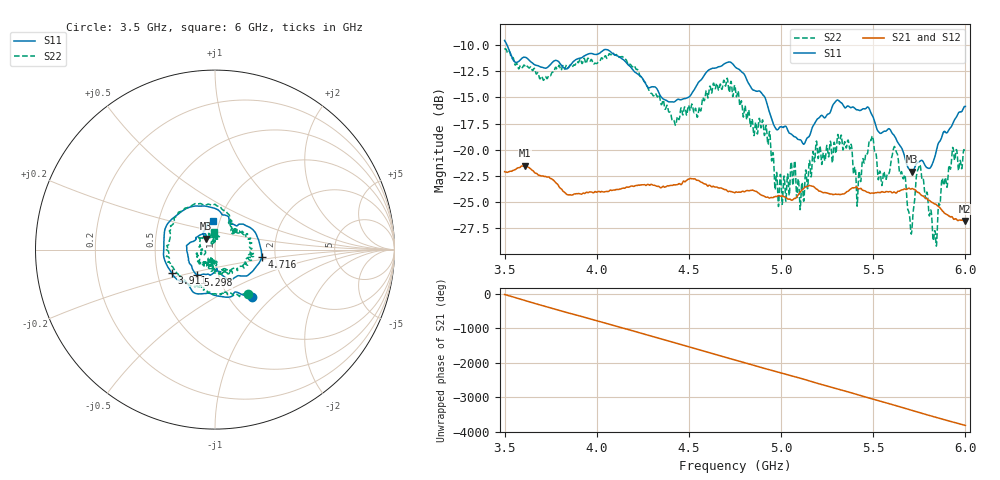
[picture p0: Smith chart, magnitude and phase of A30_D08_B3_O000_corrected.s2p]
! Created with skrf 1.9.0 (http://scikit-rf.org).
# Hz S RI R 50.0
!freq ReS11 ImS11 ReS21 ImS21 ReS12 ImS12 ReS22 ImS22
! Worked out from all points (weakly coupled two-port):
!   1601 points, 3.5 GHz to 6 GHz, reference 50 ohm
!   highest |S21| = -21.51 dB at 3.609 GHz (marker M1); lowest = -26.8 dB at 5.998 GHz (marker M2)
!   lowest |S11| = -22.1 dB at 5.711 GHz (marker M3), VSWR 1.17, Z = 44.9 + j5.48 ohm
!   |S11| at or under -10 dB: 3.513 GHz to end of sweep
!   |S22| runs from -29.2 to -10.3 dB; largest |S21 - S12| = 0.0011
!   S11 on the Smith chart (normalised r, x): 3.5 GHz: 1.27, -0.75; 3.911 GHz: 0.59, -0.17; 4.716 GHz: 1.69, -0.14; 5.298 GHz: 0.79, -0.23; 6 GHz: 0.93, +0.31
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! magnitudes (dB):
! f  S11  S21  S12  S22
! 3.5 GHz  -9.6  -22.1  -22.1  -10.3
! 3.609 GHz  -11.2  -21.5  -21.5  -12.0
! 3.911 GHz  -11.2  -24.2  -24.2  -11.3
! 3.917 GHz  -11.2  -24.2  -24.2  -11.6
! 4.334 GHz  -14.4  -23.5  -23.4  -14.8
! 4.422 GHz  -15.4  -23.3  -23.3  -17.4
! 4.716 GHz  -11.6  -24.0  -24.0  -14.3
! 4.75 GHz  -12.1  -24.1  -24.0  -13.9
! 4.928 GHz  -15.9  -24.5  -24.5  -19.5
! 4.995 GHz  -17.8  -24.4  -24.4  -22.4
! 5.167 GHz  -18.0  -23.5  -23.4  -21.6
! 5.298 GHz  -15.3  -24.2  -24.2  -20.3
! 5.42 GHz  -16.2  -23.7  -23.7  -22.5
! 5.489 GHz  -16.5  -24.1  -24.1  -19.0
! 5.584 GHz  -18.0  -24.0  -24.0  -22.3
! 5.622 GHz  -18.9  -24.1  -24.1  -20.0
! 5.711 GHz  -22.1  -23.7  -23.7  -27.4
! 5.75 GHz  -21.1  -24.1  -24.1  -21.5
! 5.834 GHz  -20.7  -25.2  -25.1  -27.7
! 5.923 GHz  -17.8  -26.4  -26.3  -21.3
! 5.998 GHz  -15.9  -26.8  -26.7  -20.2
! 6 GHz  -15.9  -26.8  -26.8  -20.1
